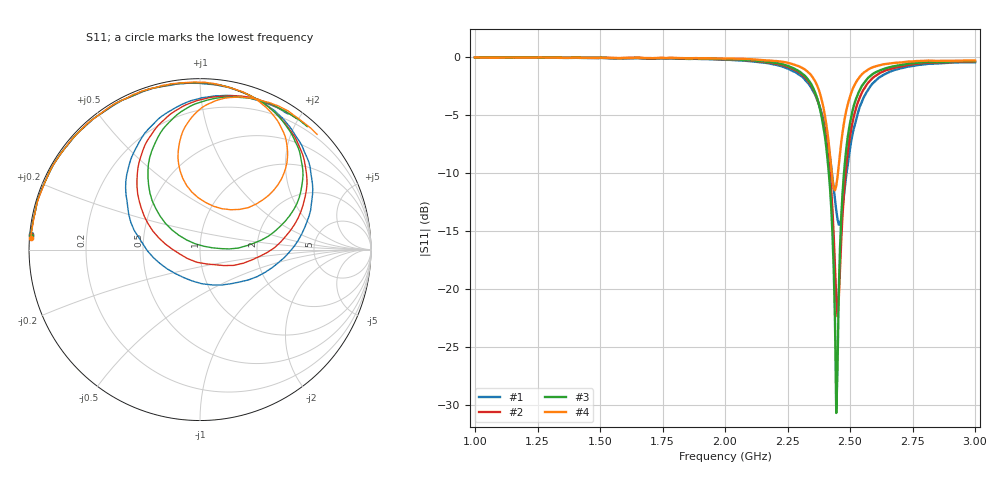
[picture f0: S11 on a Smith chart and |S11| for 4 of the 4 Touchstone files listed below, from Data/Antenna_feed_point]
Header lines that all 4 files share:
! Ref Plane: 0.000 mm
# MHZ S MA R  50
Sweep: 1 GHz to 3 GHz
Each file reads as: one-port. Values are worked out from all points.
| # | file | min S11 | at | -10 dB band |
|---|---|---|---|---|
| 1 | y13.s1p | -14.5 dB | 2.455 GHz | 58.77 MHz wide |
| 2 | y13_5.s1p | -22.4 dB | 2.45 GHz | 63.21 MHz wide |
| 3 | y14.s1p | -30.7 dB | 2.445 GHz | 60.89 MHz wide |
| 4 | y15.s1p | -11.5 dB | 2.44 GHz | 25.03 MHz wide |
